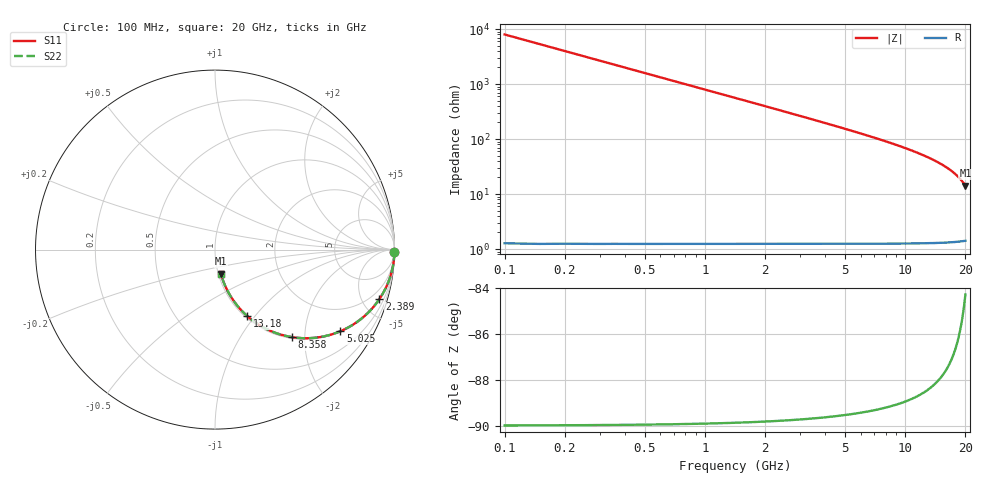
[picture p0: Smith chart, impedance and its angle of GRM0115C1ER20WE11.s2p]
!Murata Part Number: GRM0115C1ER20WE11
!These Parameters are Measured in Series Mode Connection
!Data Generated on Mar 30, 2021
!  o--ll--o
!Port1  Port2
!  o------o
!Operation Temp=25[degC], DC Bias Voltage=0[V]
!Freq. Start=100[MHz] Stop=20[GHz] 401[Steps]
# Hz S RI R 50
!Freq.(Hz) S11(Real) S11(Imag) S21(Real) S21(Imag) S12(Real) S12(Imag) S22(Real) S22(Imag)
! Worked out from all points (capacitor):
!   401 points, 100 MHz to 20 GHz, reference 50 ohm
!   read as one part in series: C = 200 fF near 199.5 MHz
!   lowest |Z| = 14.1 ohm at 20 GHz (marker M1)
!   S11 on the Smith chart (normalised r, x): 100 MHz: open; 2.389 GHz: 1.02, -6.61; 5.025 GHz: 1.02, -3.06; 8.358 GHz: 1.03, -1.72; 13.18 GHz: 1.03, -0.91; 20 GHz: 1.03, -0.28
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1e8  0.9998 -0.0126  0.00016 0.0126  0.00016 0.0126  0.9998 -0.0126
1.4975e8  0.9996 -0.0188  0.000358 0.0188  0.000358 0.0188  0.9996 -0.0188
2.4925e8  0.999 -0.0313  0.000992 0.0313  0.000992 0.0313  0.999 -0.0313
2.99e8  0.9986 -0.0375  0.00143 0.0375  0.00143 0.0375  0.9986 -0.0375
3.985e8  0.9975 -0.05  0.00253 0.05  0.00253 0.05  0.9975 -0.05
4.98e8  0.996 -0.0624  0.00395 0.0624  0.00395 0.0624  0.996 -0.0624
5.975e8  0.9943 -0.0747  0.00568 0.0747  0.00568 0.0747  0.9943 -0.0747
7.965e8  0.9899 -0.0992  0.0101 0.0992  0.0101 0.0992  0.9899 -0.0992
1.095e9  0.9811 -0.1352  0.0189 0.1352  0.0189 0.1352  0.9811 -0.1352
1.44325e9  0.9676 -0.1759  0.0324 0.1759  0.0324 0.1759  0.9676 -0.1759
1.891e9  0.9455 -0.2256  0.0545 0.2256  0.0545 0.2256  0.9455 -0.2256
2.3885e9  0.9153 -0.2765  0.0847 0.2765  0.0847 0.2765  0.9153 -0.2765
3.43325e9  0.8375 -0.3662  0.1625 0.3662  0.1625 0.3662  0.8375 -0.3662
5.02525e9  0.6991 -0.4546  0.3009 0.4546  0.3009 0.4546  0.6991 -0.4546
6.7665e9  0.5484 -0.492  0.4516 0.492  0.4516 0.492  0.5484 -0.492
8.3585e9  0.4269 -0.4874  0.5731 0.4874  0.5731 0.4874  0.4269 -0.4874
1.005e10  0.3202 -0.4574  0.6798 0.4574  0.6798 0.4574  0.3202 -0.4574
1.318425e10  0.1781 -0.3688  0.8219 0.3688  0.8219 0.3688  0.1781 -0.3688
1.338325e10  0.1711 -0.3624  0.8289 0.3624  0.8289 0.3624  0.1711 -0.3624
1.67165e10  0.0817 -0.2511  0.9183 0.2511  0.9183 0.2511  0.0817 -0.2511
1.85075e10  0.0509 -0.1885  0.9491 0.1885  0.9491 0.1885  0.0509 -0.1885
2e10  0.0326 -0.1343  0.9674 0.1343  0.9674 0.1343  0.0326 -0.1343
